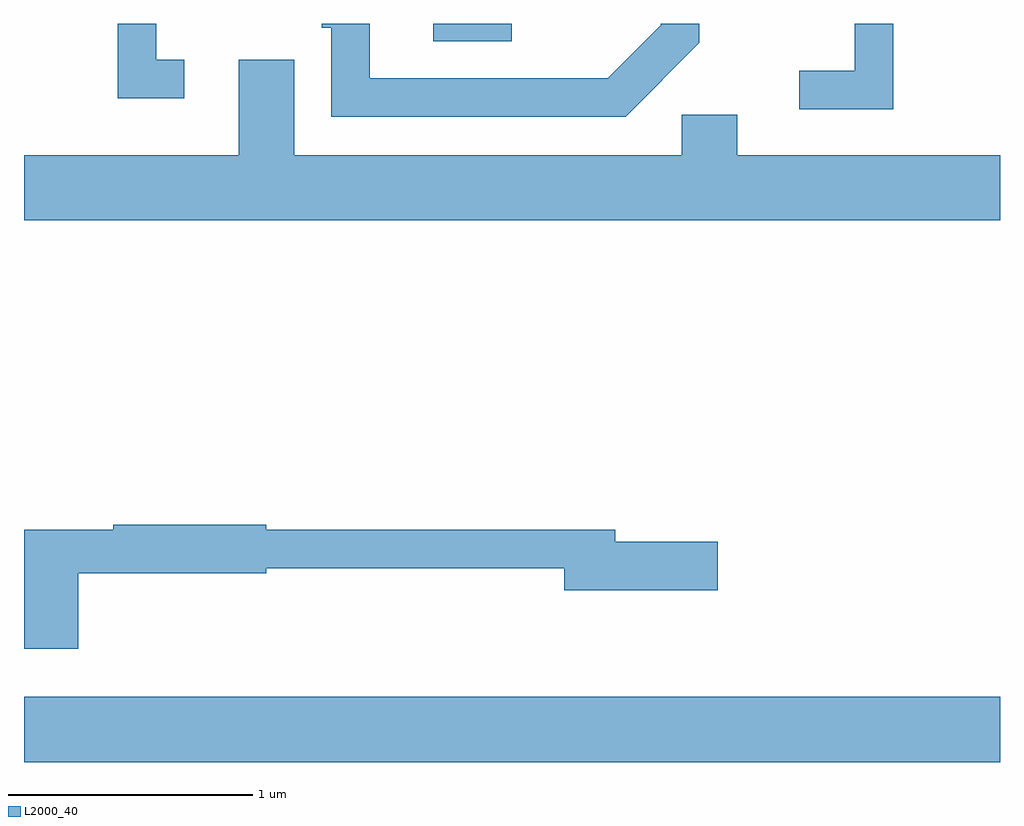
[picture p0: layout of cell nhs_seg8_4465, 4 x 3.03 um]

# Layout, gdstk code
import gdstk
lib = gdstk.Library(unit=1e-6, precision=1e-09)
def R(c, l, rs):  # rectangles x0, y0, x1, y1
    for r in rs: c.add(gdstk.rectangle(r[:2], r[2:], *l))
def P(c, l, *ps):  # polygons
    for p in ps: c.add(gdstk.Polygon(p, *l))
L2000_40 = (2000, 40)

nhs_seg8_4465 = lib.new_cell('nhs_seg8_4465')
R(nhs_seg8_4465, L2000_40, [(319.611,1825.316,323.611,1825.584), (321.288,1828.271,321.609,1828.342)])
P(nhs_seg8_4465, L2000_40, [(320.268,1828.194),(320.154,1828.194),(320.154,1828.342),(319.996,1828.342),(319.996,1828.036),(320.268,1828.036)],
  [(322.379,1828.264),(322.379,1828.342),(322.221,1828.342),(322.221,1828.337),(322.004,1828.119),(321.029,1828.119),(321.029,1828.342),(320.831,1828.342),(320.831,1828.326),(320.871,1828.326),(320.871,1827.961),(322.077,1827.961)],
  [(323.174,1828.342),(323.016,1828.342),(323.016,1828.149),(322.788,1828.149),(322.788,1827.991),(323.174,1827.991)],
  [(323.611,1827.804),(322.534,1827.804),(322.534,1827.969),(322.306,1827.969),(322.306,1827.804),(320.719,1827.804),(320.719,1828.194),(320.491,1828.194),(320.491,1827.804),(319.611,1827.804),(319.611,1827.536),(323.611,1827.536)],
  [(319.834,1826.091),(320.604,1826.091),(320.604,1826.111),(321.826,1826.111),(321.826,1826.021),(322.454,1826.021),(322.454,1826.219),(322.034,1826.219),(322.034,1826.269),(320.604,1826.269),(320.604,1826.289),(319.976,1826.289),(319.976,1826.269),(319.611,1826.269),(319.611,1825.781),(319.834,1825.781)])

lib.write_gds('nhs_seg8_4465.gds')
